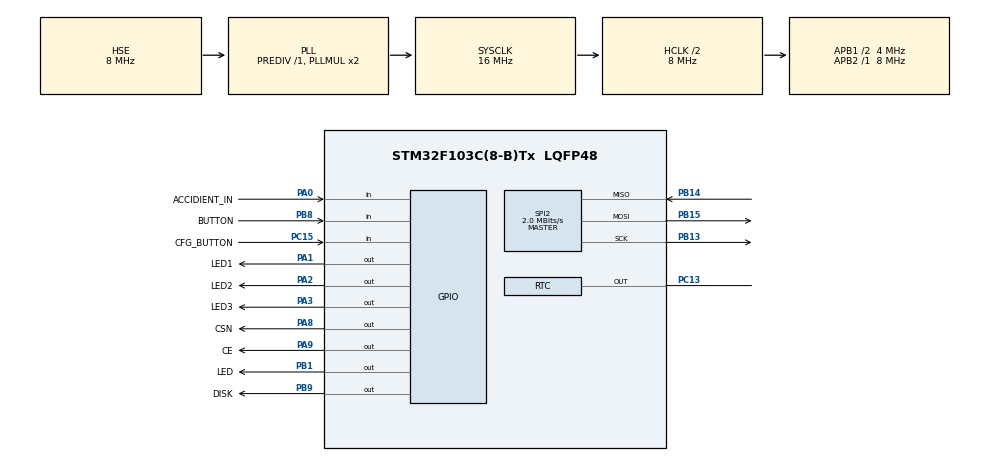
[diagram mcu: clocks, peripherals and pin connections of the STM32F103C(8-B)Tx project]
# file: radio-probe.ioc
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Mcu.Family=STM32F1
Mcu.Name=STM32F103C(8-B)Tx
Mcu.Package=LQFP48
NVIC.PriorityGroup=NVIC_PRIORITYGROUP_4
PA0-WKUP.GPIO_Label=ACCIDIENT_IN
PA0-WKUP.GPIO_Mode=GPIO_MODE_INPUT
PA0-WKUP.GPIO_PuPd=GPIO_PULLDOWN
PA0-WKUP.Signal=GPIO_Input
PA1.GPIO_Label=LED1
PA1.Signal=GPIO_Output
PA13.Mode=Serial_Wire
PA13.Signal=SYS_JTMS-SWDIO
PA14.Mode=Serial_Wire
PA14.Signal=SYS_JTCK-SWCLK
PA2.GPIO_Label=LED2
PA2.Signal=GPIO_Output
PA3.GPIO_Label=LED3
PA3.Signal=GPIO_Output
PA8.GPIO_Label=CSN
PA8.GPIO_ModeDefaultOutputPP=GPIO_MODE_OUTPUT_PP
PA8.GPIO_Speed=GPIO_SPEED_LOW
PA8.Signal=GPIO_Output
PA9.GPIO_Label=CE
PA9.GPIO_ModeDefaultOutputPP=GPIO_MODE_OUTPUT_PP
PA9.GPIO_Speed=GPIO_SPEED_LOW
PA9.Signal=GPIO_Output
PB1.GPIO_Label=LED
PB1.GPIO_ModeDefaultOutputPP=GPIO_MODE_OUTPUT_PP
PB1.GPIO_Speed=GPIO_SPEED_LOW
PB1.Signal=GPIO_Output
PB13.Mode=Full_Duplex_Master
PB13.Signal=SPI2_SCK
PB14.Mode=Full_Duplex_Master
PB14.Signal=SPI2_MISO
PB15.Mode=Full_Duplex_Master
PB15.Signal=SPI2_MOSI
PB8.GPIO_Label=BUTTON
PB8.GPIO_Mode=GPIO_MODE_INPUT
PB8.GPIO_PuPd=GPIO_NOPULL
PB8.Signal=GPIO_Input
PB9.GPIO_Label=DISK
PB9.GPIO_ModeDefaultOutputPP=GPIO_MODE_OUTPUT_OD
PB9.GPIO_Speed=GPIO_SPEED_LOW
PB9.Signal=GPIO_Output
PC13-TAMPER-RTC.Mode=RTC OUT
PC13-TAMPER-RTC.Signal=RTC_OUT
PC15-OSC32_OUT.GPIO_Label=CFG_BUTTON
PC15-OSC32_OUT.GPIO_Mode=GPIO_MODE_INPUT
PC15-OSC32_OUT.GPIO_PuPd=GPIO_PULLUP
PC15-OSC32_OUT.Signal=GPIO_Input
PD0-OSC_IN.Mode=HSE-External-Oscillator
PD0-OSC_IN.Signal=RCC_OSC_IN
PD1-OSC_OUT.Mode=HSE-External-Oscillator
PD1-OSC_OUT.Signal=RCC_OSC_OUT
ProjectManager.TargetToolchain=MDK-ARM V5
RCC.ADCPresc=RCC_ADCPCLK2_DIV6
RCC.AHBCLKDivider=RCC_SYSCLK_DIV2
RCC.AHBFreq_Value=8000000
RCC.APB1CLKDivider=RCC_HCLK_DIV2
RCC.APB1Freq_Value=4000000
RCC.APB1TimFreq_Value=8000000
RCC.APB2Freq_Value=8000000
RCC.APB2TimFreq_Value=8000000
RCC.HCLKFreq_Value=8000000
RCC.PLLSource=RCC_PLLSOURCE_HSE
RCC.PLLSourceVirtual=RCC_PLLSOURCE_HSE
RCC.SYSCLKFreq_VALUE=16000000
RCC.SYSCLKSource=RCC_SYSCLKSOURCE_PLLCLK
RCC.USBFreq_Value=16000000
RCC.VDD_VALUE=3.3
SPI2.BaudRatePrescaler=SPI_BAUDRATEPRESCALER_2
SPI2.CalculateBaudRate=2.0 MBits/s
SPI2.Mode=SPI_MODE_MASTER

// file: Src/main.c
/**
  ******************************************************************************
  * File Name          : main.c
  * Date               : 02/08/2015 14:01:26
  * Description        : Main program body
  ******************************************************************************
  *
  * COPYRIGHT(c) 2015 STMicroelectronics
  *
  * Redistribution and use in source and binary forms, with or without modification,
  * are permitted provided that the following conditions are met:
  *   1. Redistributions of source code must retain the above copyright notice,
  *      this list of conditions and the following disclaimer.
  *   2. Redistributions in binary form must reproduce the above copyright notice,
  *      this list of conditions and the following disclaimer in the documentation
  *      and/or other materials provided with the distribution.
  *   3. Neither the name of STMicroelectronics nor the names of its contributors
  *      may be used to endorse or promote products derived from this software
  *      without specific prior written permission.
  *
  * THIS SOFTWARE IS PROVIDED BY THE COPYRIGHT HOLDERS AND CONTRIBUTORS "AS IS"
  * AND ANY EXPRESS OR IMPLIED WARRANTIES, INCLUDING, BUT NOT LIMITED TO, THE
  * IMPLIED WARRANTIES OF MERCHANTABILITY AND FITNESS FOR A PARTICULAR PURPOSE ARE
  * DISCLAIMED. IN NO EVENT SHALL THE COPYRIGHT HOLDER OR CONTRIBUTORS BE LIABLE
  * FOR ANY DIRECT, INDIRECT, INCIDENTAL, SPECIAL, EXEMPLARY, OR CONSEQUENTIAL
  * DAMAGES (INCLUDING, BUT NOT LIMITED TO, PROCUREMENT OF SUBSTITUTE GOODS OR
  * SERVICES; LOSS OF USE, DATA, OR PROFITS; OR BUSINESS INTERRUPTION) HOWEVER
  * CAUSED AND ON ANY THEORY OF LIABILITY, WHETHER IN CONTRACT, STRICT LIABILITY,
  * OR TORT (INCLUDING NEGLIGENCE OR OTHERWISE) ARISING IN ANY WAY OUT OF THE USE
  * OF THIS SOFTWARE, EVEN IF ADVISED OF THE POSSIBILITY OF SUCH DAMAGE.
  *
  ******************************************************************************
  */

#include "stm32f1xx_hal.h"

/* USER CODE BEGIN Includes */
#include "nrf24.h"
#include "aes.h"
#include <stdio.h>
#include <stdlib.h>
#include "encrypted_block.h"
#include "nrf24_address_cfg.h"
/* USER CODE END Includes */

RTC_HandleTypeDef hrtc;

SPI_HandleTypeDef hspi2;

void SystemClock_Config(void);
static void MX_GPIO_Init(void);
static void MX_RTC_Init(void);
static void MX_SPI2_Init(void);

/* USER CODE BEGIN 0 */

void deinit()
{
	GPIO_InitTypeDef GPIO_InitStruct;

  GPIO_InitStruct.Pin = GPIO_PIN_0|GPIO_PIN_1|GPIO_PIN_2|GPIO_PIN_3|GPIO_PIN_4
												|GPIO_PIN_5|GPIO_PIN_6|GPIO_PIN_7|GPIO_PIN_8
                        |GPIO_PIN_9|GPIO_PIN_10|GPIO_PIN_11|GPIO_PIN_12
                        |GPIO_PIN_13|GPIO_PIN_14|GPIO_PIN_15;
  GPIO_InitStruct.Mode = GPIO_MODE_ANALOG;
  HAL_GPIO_Init(GPIOA, &GPIO_InitStruct);
	HAL_GPIO_Init(GPIOB, &GPIO_InitStruct);
	HAL_GPIO_Init(GPIOC, &GPIO_InitStruct);
}

aes128_ctx_t AES_ctx;

uint8_t phrase[16];

uint32_t isAccidient()
{
	if(HAL_GPIO_ReadPin(GPIOA, GPIO_PIN_0)==GPIO_PIN_SET)
	{
		return 1;
	}

	return 0;
}

uint32_t getPostKey()
{
	return BKP->DR1 | BKP->DR2<<16;
}

void setPostKey(uint32_t key)
{
		BKP->DR1=key&0xffff;
		BKP->DR2=key>>16;
}

void xprintf(void * ptr, ...)
{
}

void onAir(uint16_t accidient){

	HAL_GPIO_WritePin(GPIOA, GPIO_PIN_2, GPIO_PIN_RESET);//green
	HAL_GPIO_TogglePin(GPIOA, GPIO_PIN_3);//blue

	nrf24_init(&hspi2);

	aes128_init(AES_key, &AES_ctx);
	EncryptedBlock probeBlock;
	probeBlock.token=getPostKey();
	setPostKey(probeBlock.token+1);

	//fill data where
	ProbeData * probeData=(ProbeData*)probeBlock.data;
	if(accidient){
		probeData->sensor_val=3000;}
	else{
		probeData->sensor_val=4095;}

	probeData->crc=0xf0f0f0f0;

	//srand(probeBlock.token);
	//for(int i=sizeof(probeData);i<sizeof(probeBlock.data);i++)
	//{
		//probeBlock.data[i]=rand()%255;
	//}

	// ЬХТПСЕЛ
	aes128_enc(&probeBlock, &AES_ctx);
	//aes128_enc(&probeBlock+16, &AES_ctx);

	nrf24_config(99,32);
	nrf24_tx_address(master_controller_address_pipe1);
	nrf24_rx_address(RX_ADDR_P1, zond_address);

    // Dynamic length configurations: No dynamic length

	/* Automatically goes to TX mode */
	nrf24_sendDL((uint8_t*)&probeBlock, 16);

	/* Wait for transmission to end */
	while(nrf24_isSending()){};

	/* Make analysis on last tranmission attempt */
//	uint8_t temp = nrf24_lastMessageStatus();

//	if(temp == NRF24_TRANSMISSON_OK)
//	{
//			xprintf("> Tranmission went OK\r\n");
//	}
//	else if(temp == NRF24_MESSAGE_LOST)
//	{
////			for(int i=1;i<10;i++)
////			{
////				HAL_GPIO_WritePin(GPIOB, GPIO_PIN_1, GPIO_PIN_SET);
////				HAL_Delay(20);
////				HAL_GPIO_WritePin(GPIOB, GPIO_PIN_1, GPIO_PIN_RESET);
////				HAL_Delay(20);
////			}
//			xprintf("> Message is lost ...\r\n");
//		//HAL_GPIO_WritePin(GPIOB, GPIO_PIN_1, GPIO_PIN_SET);
//	}
//
//	/* Retranmission count indicates the tranmission quality */
//	temp = nrf24_retransmissionCount();
//	xprintf("> Retranmission count: %d\r\n",temp);

//	uint8_t cfg_recived=0;
//	while(HAL_GPIO_ReadPin(GPIOC, GPIO_PIN_15)==GPIO_PIN_RESET)
//	{
//		nrf24_powerUpRx();
//
//		if((HAL_GetTick()&64)||(cfg_recived)){
//			HAL_GPIO_WritePin(GPIOB, GPIO_PIN_1, GPIO_PIN_SET);
//		}
//		else{
//			HAL_GPIO_WritePin(GPIOB, GPIO_PIN_1, GPIO_PIN_RESET);
//		}
//
//		if(nrf24_dataReady())
//		{
//			cfg_recived=1;
//			EncryptedBlock mainBlock;
//			nrf24_getData(&mainBlock);
//			aes128_dec(&mainBlock, &AES_ctx);
//			aes128_dec(&mainBlock+16, &AES_ctx);
//
//			ControllerData * controllerData=(ControllerData *)mainBlock.data;
//			BKP->DR3=controllerData->air_interval;
//		}
//	}

	nrf24_powerDown();

	//return temp;
	//HAL_GPIO_WritePin(GPIOB, GPIO_PIN_1, GPIO_PIN_RESET);

}

static HAL_StatusTypeDef RTC_EnterInitMode(RTC_HandleTypeDef* hrtc)
{
  uint32_t tickstart = 0;

  tickstart = HAL_GetTick();
  /* Wait till RTC is in INIT state and if Time out is reached exit */
  while((hrtc->Instance->CRL & RTC_CRL_RTOFF) == (uint32_t)RESET)
  {
    if((HAL_GetTick() - tickstart) >  RTC_TIMEOUT_VALUE)
    {
      return HAL_TIMEOUT;
    }
  }

  /* Disable the write protection for RTC registers */
  __HAL_RTC_WRITEPROTECTION_DISABLE(hrtc);

  return HAL_OK;
}

static HAL_StatusTypeDef RTC_ExitInitMode(RTC_HandleTypeDef* hrtc)
{
  uint32_t tickstart = 0;

  /* Disable the write protection for RTC registers */
  __HAL_RTC_WRITEPROTECTION_ENABLE(hrtc);

  tickstart = HAL_GetTick();
  /* Wait till RTC is in INIT state and if Time out is reached exit */
  while((hrtc->Instance->CRL & RTC_CRL_RTOFF) == (uint32_t)RESET)
  {
    if((HAL_GetTick() - tickstart) >  RTC_TIMEOUT_VALUE)
    {
      return HAL_TIMEOUT;
    }
  }

  return HAL_OK;
}

static HAL_StatusTypeDef RTC_WriteAlarmCounter(RTC_HandleTypeDef* hrtc, uint32_t AlarmCounter)
{
  HAL_StatusTypeDef status = HAL_OK;

  /* Set Initialization mode */
  if(RTC_EnterInitMode(hrtc) != HAL_OK)
  {
    status = HAL_ERROR;
  }
  else
  {
    /* Set RTC COUNTER MSB word */
    WRITE_REG(hrtc->Instance->ALRH, (AlarmCounter >> 16));
    /* Set RTC COUNTER LSB word */
    WRITE_REG(hrtc->Instance->ALRL, (AlarmCounter & RTC_ALRL_RTC_ALR));

    /* Wait for synchro */
    if(RTC_ExitInitMode(hrtc) != HAL_OK)
    {
      status = HAL_ERROR;
    }
  }

  return status;
}

/* USER CODE END 0 */

int main(void)
{

  /* USER CODE BEGIN 1 */
	HAL_Init();
	SystemClock_Config();
	MX_GPIO_Init();
	MX_RTC_Init();
	uint16_t accidient=isAccidient();
	if(accidient){
		HAL_GPIO_WritePin(GPIOA, GPIO_PIN_1, GPIO_PIN_SET); //red
	}
	else{
		HAL_GPIO_WritePin(GPIOA, GPIO_PIN_2, GPIO_PIN_SET); //green
	}

	if((accidient)||(BKP->DR3==0)||(HAL_GPIO_ReadPin(GPIOC, GPIO_PIN_15)==GPIO_PIN_RESET)){
		MX_SPI2_Init();
		onAir(accidient);
		BKP->DR3=60;
	}
	BKP->DR3-=1;

	//RTC_AlarmTypeDef alarmTime;
	//alarmTime.AlarmTime.Seconds=0;
	//HAL_RTC_SetAlarm(&hrtc, &alarmTime, FORMAT_BCD);

	RTC_WriteAlarmCounter(&hrtc, 0);

	__HAL_PWR_CLEAR_FLAG(PWR_FLAG_WU);
	__HAL_PWR_CLEAR_FLAG(PWR_FLAG_SB);

	HAL_PWR_DisableWakeUpPin(PWR_WAKEUP_PIN1);
  while (1)
  {
		HAL_PWR_EnterSTANDBYMode();
	}

  /* USER CODE END 1 */

  /* MCU Configuration----------------------------------------------------------*/

  /* Reset of all peripherals, Initializes the Flash interface and the Systick. */
  HAL_Init();

  /* Configure the system clock */
  SystemClock_Config();

  /* Initialize all configured peripherals */
  MX_GPIO_Init();
  MX_RTC_Init();
  MX_SPI2_Init();

  /* Infinite loop */
  while (1)
  {

  }

}

/** System Clock Configuration
*/
void SystemClock_Config(void)
{

  RCC_OscInitTypeDef RCC_OscInitStruct;
  RCC_ClkInitTypeDef RCC_ClkInitStruct;
  RCC_PeriphCLKInitTypeDef PeriphClkInit;

  RCC_OscInitStruct.OscillatorType = RCC_OSCILLATORTYPE_LSI|RCC_OSCILLATORTYPE_HSE;
  RCC_OscInitStruct.HSEState = RCC_HSE_ON;
  RCC_OscInitStruct.HSEPredivValue = RCC_HSE_PREDIV_DIV1;
  RCC_OscInitStruct.LSIState = RCC_LSI_ON;
  RCC_OscInitStruct.PLL.PLLState = RCC_PLL_ON;
  RCC_OscInitStruct.PLL.PLLSource = RCC_PLLSOURCE_HSE;
  RCC_OscInitStruct.PLL.PLLMUL = RCC_PLL_MUL2;
  HAL_RCC_OscConfig(&RCC_OscInitStruct);

  RCC_ClkInitStruct.ClockType = RCC_CLOCKTYPE_HCLK|RCC_CLOCKTYPE_SYSCLK
                              |RCC_CLOCKTYPE_PCLK1;
  RCC_ClkInitStruct.SYSCLKSource = RCC_SYSCLKSOURCE_PLLCLK;
  RCC_ClkInitStruct.AHBCLKDivider = RCC_SYSCLK_DIV2;
  RCC_ClkInitStruct.APB1CLKDivider = RCC_HCLK_DIV2;
  RCC_ClkInitStruct.APB2CLKDivider = RCC_HCLK_DIV1;
  HAL_RCC_ClockConfig(&RCC_ClkInitStruct, FLASH_LATENCY_0);

  PeriphClkInit.PeriphClockSelection = RCC_PERIPHCLK_RTC;
  PeriphClkInit.RTCClockSelection = RCC_RTCCLKSOURCE_LSI;
  HAL_RCCEx_PeriphCLKConfig(&PeriphClkInit);

}

/* RTC init function */
void MX_RTC_Init(void)
{

  RTC_TimeTypeDef sTime;
  RTC_DateTypeDef DateToUpdate;

    /**Initialize RTC and set the Time and Date
    */
  hrtc.Instance = RTC;
  hrtc.Init.AsynchPrediv = RTC_AUTO_1_SECOND;
  hrtc.Init.OutPut = RTC_OUTPUTSOURCE_NONE;
  hrtc.DateToUpdate.WeekDay = RTC_WEEKDAY_MONDAY;
  hrtc.DateToUpdate.Month = RTC_MONTH_JANUARY;
  hrtc.DateToUpdate.Date = 1;
  hrtc.DateToUpdate.Year = 0;
  HAL_RTC_Init(&hrtc);

 sTime.Hours = 0;
  sTime.Minutes = 0;
  sTime.Seconds = 0;
  HAL_RTC_SetTime(&hrtc, &sTime, FORMAT_BCD);

  HAL_RTC_SetDate(&hrtc, &DateToUpdate, FORMAT_BCD);

}

/* SPI2 init function */
void MX_SPI2_Init(void)
{

  hspi2.Instance = SPI2;
  hspi2.Init.Mode = SPI_MODE_MASTER;
  hspi2.Init.Direction = SPI_DIRECTION_2LINES;
  hspi2.Init.DataSize = SPI_DATASIZE_8BIT;
  hspi2.Init.CLKPolarity = SPI_POLARITY_LOW;
  hspi2.Init.CLKPhase = SPI_PHASE_1EDGE;
  hspi2.Init.NSS = SPI_NSS_SOFT;
  hspi2.Init.BaudRatePrescaler = SPI_BAUDRATEPRESCALER_2;
  hspi2.Init.FirstBit = SPI_FIRSTBIT_MSB;
  hspi2.Init.TIMode = SPI_TIMODE_DISABLED;
  hspi2.Init.CRCCalculation = SPI_CRCCALCULATION_DISABLED;
  HAL_SPI_Init(&hspi2);

}

/** Configure pins as
        * Analog
        * Input
        * Output
        * EVENT_OUT
        * EXTI
        * Free pins are configured automatically as Analog (this feature is enabled through
        * the Code Generation settings)
*/
void MX_GPIO_Init(void)
{

  GPIO_InitTypeDef GPIO_InitStruct;

  /* GPIO Ports Clock Enable */
  __GPIOC_CLK_ENABLE();
  __GPIOD_CLK_ENABLE();
  __GPIOA_CLK_ENABLE();
  __GPIOB_CLK_ENABLE();

  /*Configure GPIO pin : PC14 */
  GPIO_InitStruct.Pin = GPIO_PIN_14;
  GPIO_InitStruct.Mode = GPIO_MODE_ANALOG;
  HAL_GPIO_Init(GPIOC, &GPIO_InitStruct);

  /*Configure GPIO pin : PC15 */
  GPIO_InitStruct.Pin = GPIO_PIN_15;
  GPIO_InitStruct.Mode = GPIO_MODE_INPUT;
  GPIO_InitStruct.Pull = GPIO_PULLUP;
  HAL_GPIO_Init(GPIOC, &GPIO_InitStruct);

  /*Configure GPIO pin : PA0 */
  GPIO_InitStruct.Pin = GPIO_PIN_0;
  GPIO_InitStruct.Mode = GPIO_MODE_INPUT;
  GPIO_InitStruct.Pull = GPIO_PULLDOWN;
  HAL_GPIO_Init(GPIOA, &GPIO_InitStruct);

  /*Configure GPIO pins : PA1 PA2 PA3 PA8
                           PA9 */
  GPIO_InitStruct.Pin = GPIO_PIN_1|GPIO_PIN_2|GPIO_PIN_3|GPIO_PIN_8
                          |GPIO_PIN_9;
  GPIO_InitStruct.Mode = GPIO_MODE_OUTPUT_PP;
  GPIO_InitStruct.Speed = GPIO_SPEED_LOW;
  HAL_GPIO_Init(GPIOA, &GPIO_InitStruct);

  /*Configure GPIO pins : PA4 PA5 PA6 PA7
                           PA10 PA11 PA12 PA15 */
  GPIO_InitStruct.Pin = GPIO_PIN_4|GPIO_PIN_5|GPIO_PIN_6|GPIO_PIN_7
                          |GPIO_PIN_10|GPIO_PIN_11|GPIO_PIN_12|GPIO_PIN_15;
  GPIO_InitStruct.Mode = GPIO_MODE_ANALOG;
  HAL_GPIO_Init(GPIOA, &GPIO_InitStruct);

  /*Configure GPIO pins : PB0 PB2 PB10 PB11
                           PB12 PB3 PB4 PB5
                           PB6 PB7 */
  GPIO_InitStruct.Pin = GPIO_PIN_0|GPIO_PIN_2|GPIO_PIN_10|GPIO_PIN_11
                          |GPIO_PIN_12|GPIO_PIN_3|GPIO_PIN_4|GPIO_PIN_5
                          |GPIO_PIN_6|GPIO_PIN_7;
  GPIO_InitStruct.Mode = GPIO_MODE_ANALOG;
  HAL_GPIO_Init(GPIOB, &GPIO_InitStruct);

  /*Configure GPIO pin : PB1 */
  GPIO_InitStruct.Pin = GPIO_PIN_1;
  GPIO_InitStruct.Mode = GPIO_MODE_OUTPUT_PP;
  GPIO_InitStruct.Speed = GPIO_SPEED_LOW;
  HAL_GPIO_Init(GPIOB, &GPIO_InitStruct);

  /*Configure GPIO pin : PB8 */
  GPIO_InitStruct.Pin = GPIO_PIN_8;
  GPIO_InitStruct.Mode = GPIO_MODE_INPUT;
  GPIO_InitStruct.Pull = GPIO_NOPULL;
  HAL_GPIO_Init(GPIOB, &GPIO_InitStruct);

  /*Configure GPIO pin : PB9 */
  GPIO_InitStruct.Pin = GPIO_PIN_9;
  GPIO_InitStruct.Mode = GPIO_MODE_OUTPUT_OD;
  GPIO_InitStruct.Speed = GPIO_SPEED_LOW;
  HAL_GPIO_Init(GPIOB, &GPIO_InitStruct);

}

/************************ (C) COPYRIGHT STMicroelectronics *****END OF FILE****/
